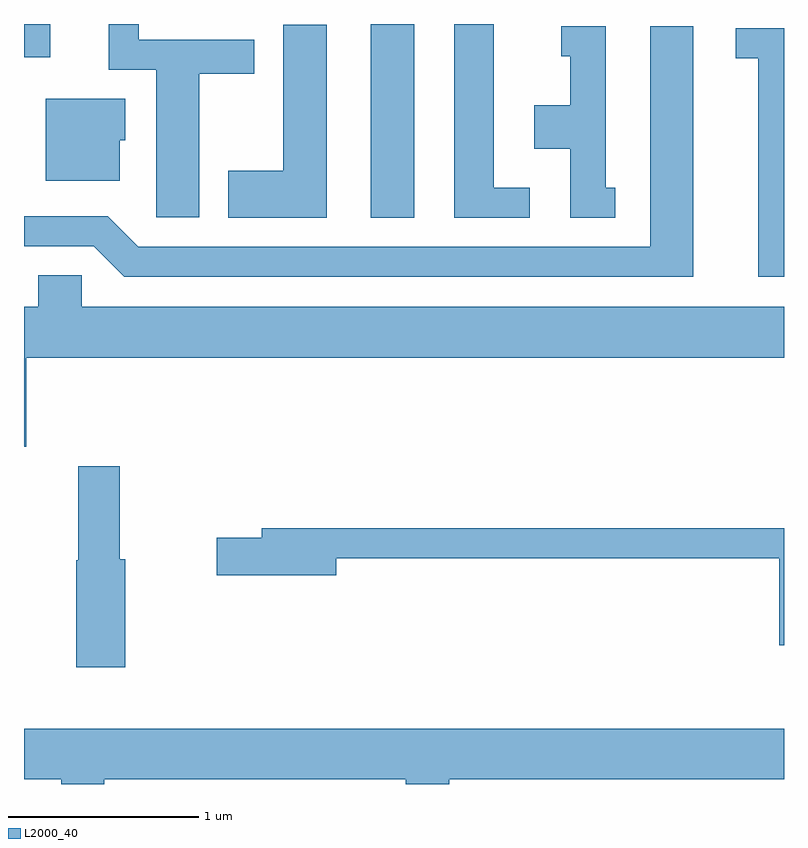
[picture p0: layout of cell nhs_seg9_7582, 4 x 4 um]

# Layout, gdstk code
import gdstk
lib = gdstk.Library(unit=1e-6, precision=1e-09)
def R(c, l, rs):  # rectangles x0, y0, x1, y1
    for r in rs: c.add(gdstk.rectangle(r[:2], r[2:], *l))
def P(c, l, *ps):  # polygons
    for p in ps: c.add(gdstk.Polygon(p, *l))
L2000_40 = (2000, 40)

nhs_seg9_7582 = lib.new_cell('nhs_seg9_7582')
R(nhs_seg9_7582, L2000_40, [(411.436,2021.411,411.664,2022.432), (409.611,2022.258,409.749,2022.432)])
P(nhs_seg9_7582, L2000_40, [(410.534,2022.171),(410.824,2022.171),(410.824,2022.349),(410.214,2022.349),(410.214,2022.432),(410.056,2022.432),(410.056,2022.191),(410.306,2022.191),(410.306,2021.416),(410.534,2021.416)],
  [(412.273,2021.569),(412.084,2021.569),(412.084,2022.432),(411.876,2022.432),(411.876,2021.411),(412.273,2021.411)],
  [(411.204,2022.429),(410.976,2022.429),(410.976,2021.659),(410.686,2021.659),(410.686,2021.411),(411.204,2021.411)],
  [(413.134,2022.419),(412.906,2022.419),(412.906,2021.259),(410.212,2021.259),(410.052,2021.419),(409.611,2021.419),(409.611,2021.261),(409.979,2021.261),(410.139,2021.101),(413.134,2021.101)],
  [(412.723,2021.569),(412.674,2021.569),(412.674,2022.419),(412.438,2022.419),(412.438,2022.261),(412.486,2022.261),(412.486,2022.004),(412.296,2022.004),(412.296,2021.776),(412.486,2021.776),(412.486,2021.411),(412.723,2021.411)],
  [(413.611,2022.409),(413.358,2022.409),(413.358,2022.251),(413.476,2022.251),(413.476,2021.101),(413.611,2021.101)],
  [(410.114,2021.821),(410.144,2021.821),(410.144,2022.039),(409.726,2022.039),(409.726,2021.606),(410.114,2021.606)],
  [(409.624,2020.676),(413.611,2020.676),(413.611,2020.944),(409.914,2020.944),(409.914,2021.109),(409.686,2021.109),(409.686,2020.944),(409.611,2020.944),(409.611,2020.206),(409.624,2020.206)],
  [(410.144,2019.614),(410.114,2019.614),(410.114,2020.104),(409.896,2020.104),(409.896,2019.61),(409.886,2019.61),(409.886,2019.046),(410.144,2019.046)],
  [(413.611,2019.779),(410.861,2019.779),(410.861,2019.729),(410.626,2019.729),(410.626,2019.531),(411.254,2019.531),(411.254,2019.621),(413.586,2019.621),(413.586,2019.161),(413.611,2019.161)],
  [(410.034,2018.456),(411.621,2018.456),(411.621,2018.432),(411.849,2018.432),(411.849,2018.456),(413.611,2018.456),(413.611,2018.724),(409.611,2018.724),(409.611,2018.456),(409.806,2018.456),(409.806,2018.432),(410.034,2018.432)])

lib.write_gds('nhs_seg9_7582.gds')
